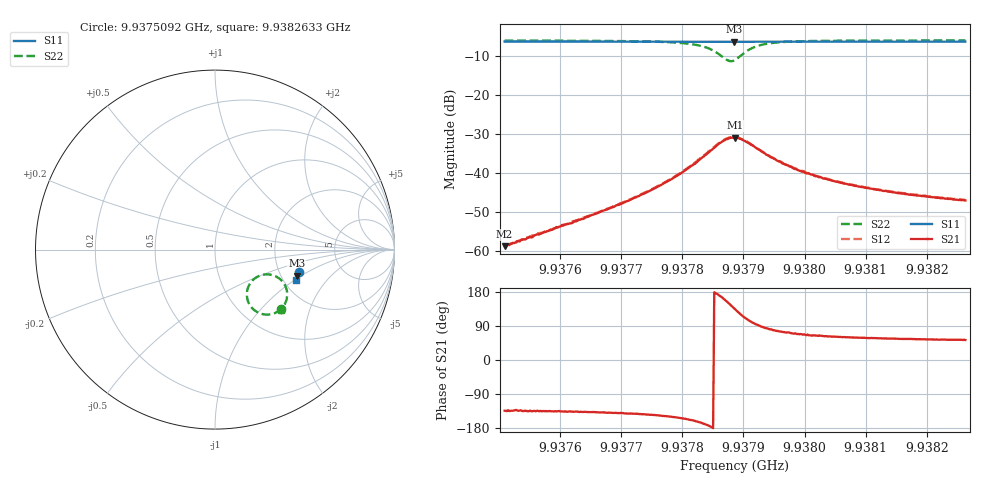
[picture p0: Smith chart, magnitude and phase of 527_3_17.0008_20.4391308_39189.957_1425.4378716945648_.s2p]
#  HZ  S  RI  R  50.00
! Rohde & Schwarz Vector Network Analyzer
! Rohde-Schwarz,ZNB20-2Port,1311601062101988,3.16
! Created: UTC 3/20/2024, 11:15:45 PM
! freq[Hz]  re:S11  im:S11  re:S21  im:S21  re:S12  im:S12  re:S22  im:S22
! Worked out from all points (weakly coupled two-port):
!   401 points, 9.9375092 GHz to 9.9382633 GHz, reference 50 ohm
!   highest |S21| = -30.89 dB at 9.9378862 GHz (marker M1); lowest = -58.7 dB at 9.9375092 GHz (marker M2)
!   lowest |S11| = -6.4 dB at 9.9378843 GHz (marker M3), VSWR 2.83, Z = 121 - j45.6 ohm
!   |S11| at or under -10 dB: nowhere
!   |S22| runs from -11.4 to -6.1 dB; largest |S21 - S12| = 0.0012
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9.93750921e9  0.467 -0.1223  -0.000805 -0.000839  -0.000824 -0.00082  0.37 -0.331
9.93763551e9  0.4639 -0.1306  -0.0019 -0.00177  -0.00196 -0.00179  0.3539 -0.343
9.93771092e9  0.4621 -0.1357  -0.00342 -0.00277  -0.00353 -0.00279  0.3367 -0.3524
9.93776181e9  0.4608 -0.1392  -0.00566 -0.00376  -0.00585 -0.00376  0.3149 -0.3595
9.93779952e9  0.4594 -0.1419  -0.00914 -0.0045  -0.00937 -0.00445  0.2847 -0.3625
9.93782214e9  0.4584 -0.1434  -0.0128 -0.00418  -0.0132 -0.00414  0.2538 -0.3566
9.9378391e9  0.4573 -0.1443  -0.017 -0.00286  -0.0176 -0.00251  0.2213 -0.3392
9.9378523e9  0.4567 -0.145  -0.0211 0.000424  -0.0216 0.000786  0.1934 -0.3078
9.93786549e9  0.4557 -0.1452  -0.0245 0.00677  -0.0248 0.00761  0.1772 -0.2518
9.9378768e9  0.4553 -0.145  -0.0239 0.0146  -0.0238 0.0157  0.1941 -0.191
9.93788434e9  0.4553 -0.1448  -0.0208 0.0195  -0.0205 0.0205  0.2252 -0.1582
9.93788623e9  0.4555 -0.1447  -0.0199 0.0205  -0.0194 0.0213  0.2351 -0.1519
9.93789566e9  0.4558 -0.1448  -0.0138 0.0236  -0.0132 0.0243  0.2863 -0.1377
9.93790885e9  0.4564 -0.1454  -0.006 0.0234  -0.00543 0.0237  0.3457 -0.1528
9.93792959e9  0.4568 -0.1472  0.00069 0.0188  0.00132 0.0191  0.3895 -0.1983
9.93796729e9  0.4564 -0.1503  0.00368 0.0125  0.00407 0.0124  0.4023 -0.2553
9.9379918e9  0.456 -0.1521  0.00404 0.01  0.00418 0.0101  0.3996 -0.2758
9.93801253e9  0.4554 -0.1537  0.00413 0.00863  0.00403 0.00853  0.3962 -0.2876
9.93806154e9  0.4541 -0.1569  0.00372 0.0065  0.00386 0.00651  0.3884 -0.3059
9.93813883e9  0.4521 -0.1623  0.00317 0.00482  0.0033 0.00483  0.3782 -0.3218
9.93822178e9  0.4497 -0.1676  0.00282 0.00385  0.00293 0.00387  0.3698 -0.3324
9.93826325e9  0.4485 -0.1703  0.00271 0.00355  0.0028 0.00357  0.3662 -0.3365
